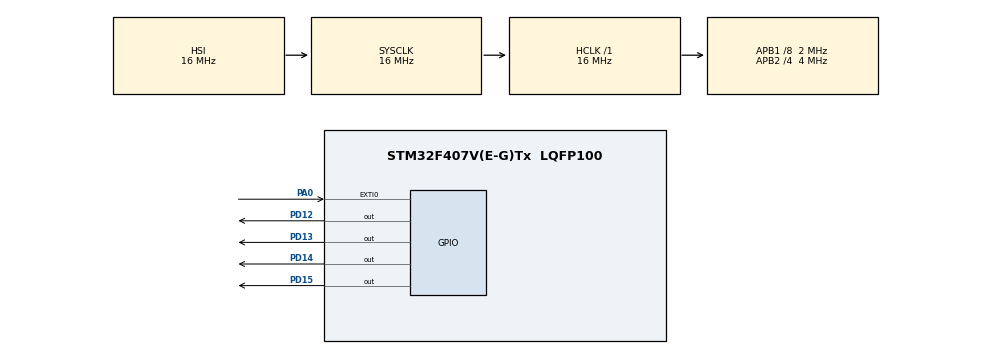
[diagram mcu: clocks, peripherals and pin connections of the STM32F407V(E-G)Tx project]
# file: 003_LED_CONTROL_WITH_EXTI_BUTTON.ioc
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FREERTOS.Tasks01=led,0,128,myLedControl,Default,NULL,Dynamic,NULL,NULL
Mcu.Family=STM32F4
Mcu.Name=STM32F407V(E-G)Tx
Mcu.Package=LQFP100
NVIC.EXTI0_IRQn=true\:5\:0\:false\:false\:true\:true\:true\:true
NVIC.PriorityGroup=NVIC_PRIORITYGROUP_4
PA0-WKUP.Signal=GPXTI0
PD12.Signal=GPIO_Output
PD13.Signal=GPIO_Output
PD14.Signal=GPIO_Output
PD15.Signal=GPIO_Output
ProjectManager.HeapSize=0x200
ProjectManager.StackSize=0x400
ProjectManager.TargetToolchain=STM32CubeIDE
RCC.48MHZClocksFreq_Value=84000000
RCC.AHBFreq_Value=16000000
RCC.APB1CLKDivider=RCC_HCLK_DIV8
RCC.APB1Freq_Value=2000000
RCC.APB1TimFreq_Value=4000000
RCC.APB2CLKDivider=RCC_HCLK_DIV4
RCC.APB2Freq_Value=4000000
RCC.APB2TimFreq_Value=8000000
RCC.CortexFreq_Value=16000000
RCC.HCLKFreq_Value=16000000
RCC.HSE_VALUE=8000000
RCC.HSI_VALUE=16000000
RCC.LSE_VALUE=32768
RCC.PLLM=8
RCC.PLLN=168
RCC.PLLP=RCC_PLLP_DIV4
RCC.SYSCLKFreq_VALUE=16000000
RCC.VCOOutputFreq_Value=336000000
VP_FREERTOS_VS_CMSIS_V1.Mode=CMSIS_V1
board=custom

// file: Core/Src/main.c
/* USER CODE BEGIN Header */
/**
  ******************************************************************************
  * @file           : main.c
  * @brief          : Main program body
  ******************************************************************************
  * @attention
  *
  * <h2><center>&copy; Copyright (c) 2020 STMicroelectronics.
  * All rights reserved.</center></h2>
  *
  * This software component is licensed by ST under BSD 3-Clause license,
  * the "License"; You may not use this file except in compliance with the
  * License. You may obtain a copy of the License at:
  *                        opensource.org/licenses/BSD-3-Clause
  *
  ******************************************************************************
  */
/* USER CODE END Header */
#include "main.h"
#include "cmsis_os.h"

/* USER CODE BEGIN Includes */
uint8_t buttonCounter=0;
TaskHandle_t myLedTask1;

/* USER CODE END Includes */

osThreadId ledHandle;

void SystemClock_Config(void);
static void MX_GPIO_Init(void);
void myLedControl(void const * argument);

/* USER CODE BEGIN 0 */
void HAL_GPIO_EXTI_Callback(uint16_t GPIO_Pin){
	buttonCounter++;
	if(buttonCounter==5)
		buttonCounter=0;
}
/* USER CODE END 0 */

int main(void)
{

  /* MCU Configuration--------------------------------------------------------*/

  /* Reset of all peripherals, Initializes the Flash interface and the Systick. */
  HAL_Init();

  /* Configure the system clock */
  SystemClock_Config();

  /* Initialize all configured peripherals */
  MX_GPIO_Init();

  /* Create the thread(s) */
  /* definition and creation of led */
  osThreadDef(led, myLedControl, osPriorityNormal, 0, 128);
  ledHandle = osThreadCreate(osThread(led), NULL);

  /* Start scheduler */
  osKernelStart();

  /* We should never get here as control is now taken by the scheduler */
  /* Infinite loop */
  while (1)
  {

  }
}

void SystemClock_Config(void)
{
  RCC_OscInitTypeDef RCC_OscInitStruct = {0};
  RCC_ClkInitTypeDef RCC_ClkInitStruct = {0};

  /** Configure the main internal regulator output voltage
  */
  __HAL_RCC_PWR_CLK_ENABLE();
  __HAL_PWR_VOLTAGESCALING_CONFIG(PWR_REGULATOR_VOLTAGE_SCALE1);
  /** Initializes the RCC Oscillators according to the specified parameters
  * in the RCC_OscInitTypeDef structure.
  */
  RCC_OscInitStruct.OscillatorType = RCC_OSCILLATORTYPE_HSI;
  RCC_OscInitStruct.HSIState = RCC_HSI_ON;
  RCC_OscInitStruct.HSICalibrationValue = RCC_HSICALIBRATION_DEFAULT;
  RCC_OscInitStruct.PLL.PLLState = RCC_PLL_NONE;
  if (HAL_RCC_OscConfig(&RCC_OscInitStruct) != HAL_OK)
  {
    Error_Handler();
  }
  /** Initializes the CPU, AHB and APB buses clocks
  */
  RCC_ClkInitStruct.ClockType = RCC_CLOCKTYPE_HCLK|RCC_CLOCKTYPE_SYSCLK
                              |RCC_CLOCKTYPE_PCLK1|RCC_CLOCKTYPE_PCLK2;
  RCC_ClkInitStruct.SYSCLKSource = RCC_SYSCLKSOURCE_HSI;
  RCC_ClkInitStruct.AHBCLKDivider = RCC_SYSCLK_DIV1;
  RCC_ClkInitStruct.APB1CLKDivider = RCC_HCLK_DIV8;
  RCC_ClkInitStruct.APB2CLKDivider = RCC_HCLK_DIV4;

  if (HAL_RCC_ClockConfig(&RCC_ClkInitStruct, FLASH_LATENCY_0) != HAL_OK)
  {
    Error_Handler();
  }
}

static void MX_GPIO_Init(void)
{
  GPIO_InitTypeDef GPIO_InitStruct = {0};

  /* GPIO Ports Clock Enable */
  __HAL_RCC_GPIOA_CLK_ENABLE();
  __HAL_RCC_GPIOD_CLK_ENABLE();

  /*Configure GPIO pin Output Level */
  HAL_GPIO_WritePin(GPIOD, GPIO_PIN_12|GPIO_PIN_13|GPIO_PIN_14|GPIO_PIN_15, GPIO_PIN_RESET);

  /*Configure GPIO pin : PA0 */
  GPIO_InitStruct.Pin = GPIO_PIN_0;
  GPIO_InitStruct.Mode = GPIO_MODE_IT_RISING;
  GPIO_InitStruct.Pull = GPIO_NOPULL;
  HAL_GPIO_Init(GPIOA, &GPIO_InitStruct);

  /*Configure GPIO pins : PD12 PD13 PD14 PD15 */
  GPIO_InitStruct.Pin = GPIO_PIN_12|GPIO_PIN_13|GPIO_PIN_14|GPIO_PIN_15;
  GPIO_InitStruct.Mode = GPIO_MODE_OUTPUT_PP;
  GPIO_InitStruct.Pull = GPIO_NOPULL;
  GPIO_InitStruct.Speed = GPIO_SPEED_FREQ_LOW;
  HAL_GPIO_Init(GPIOD, &GPIO_InitStruct);

  /* EXTI interrupt init*/
  HAL_NVIC_SetPriority(EXTI0_IRQn, 5, 0);
  HAL_NVIC_EnableIRQ(EXTI0_IRQn);

}

void myLedControl(void const * argument)
{
  /* USER CODE BEGIN 5 */

  /* Infinite loop */
  for(;;)
  {
	  if(buttonCounter==0){
		  HAL_GPIO_WritePin(GPIOD, GPIO_PIN_All, DISABLE);

	  }
	  else if(buttonCounter==1){
		  HAL_GPIO_TogglePin(GPIOD, GPIO_PIN_All);
		  vTaskDelay(1000);
	  }
	  else if(buttonCounter==2){
		  HAL_GPIO_TogglePin(GPIOD, GPIO_PIN_All);
		  vTaskDelay(750);
	  }
	  else if(buttonCounter==3){
		  HAL_GPIO_TogglePin(GPIOD, GPIO_PIN_All);
		  vTaskDelay(500);
	  }
	  else if(buttonCounter==4){
		  HAL_GPIO_TogglePin(GPIOD, GPIO_PIN_All);
		  vTaskDelay(131);
	  }

  //  osDelay(1);
  }
  /* USER CODE END 5 */
}

void Error_Handler(void)
{
  __disable_irq();
  while (1)
  {
  }
}

/************************ (C) COPYRIGHT STMicroelectronics *****END OF FILE****/
